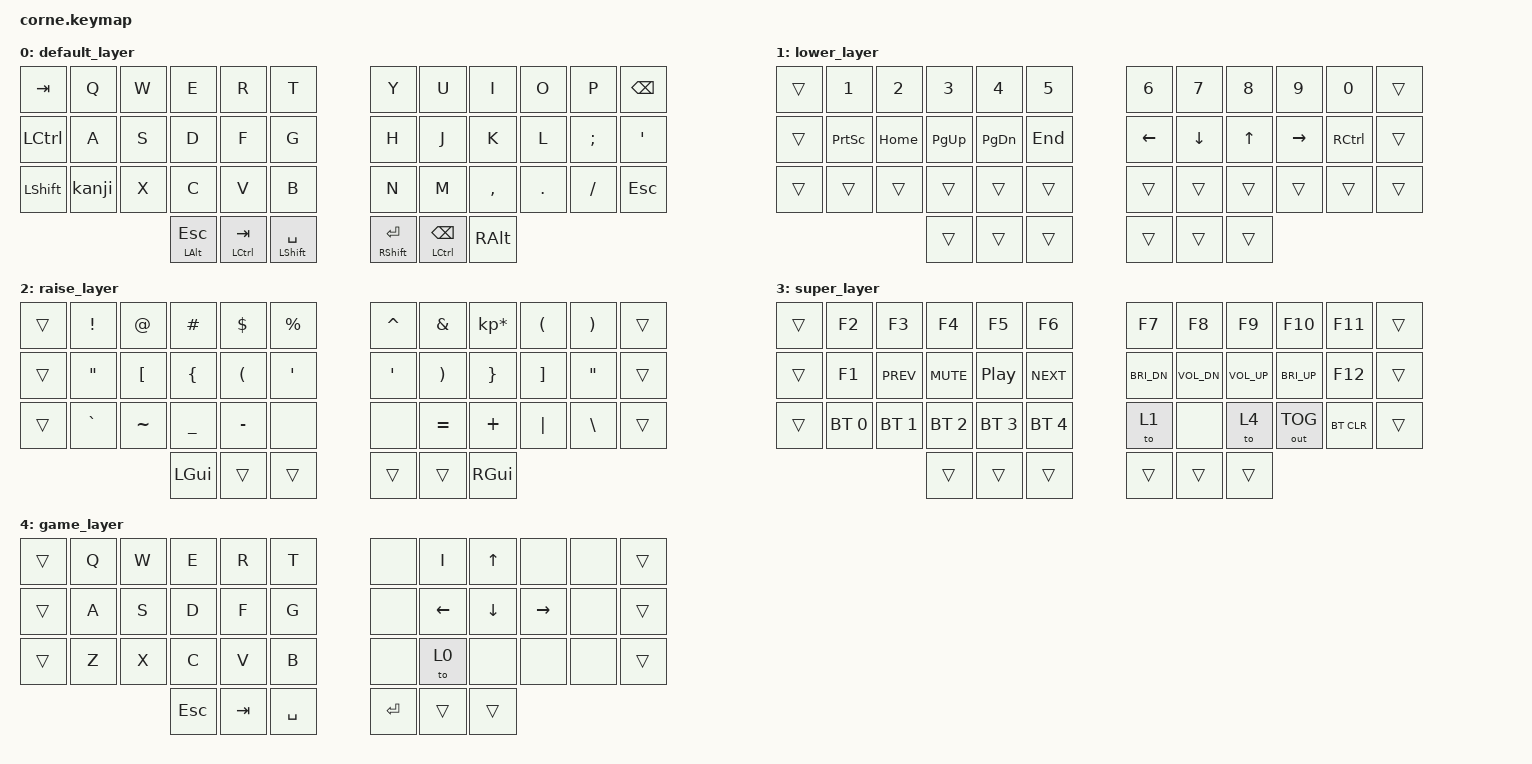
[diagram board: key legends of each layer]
/*
 * Copyright (c) 2020 The ZMK Contributors
 *
 * SPDX-License-Identifier: MIT
 */

#include <behaviors.dtsi>
#include <dt-bindings/zmk/keys.h>
#include <dt-bindings/zmk/bt.h>
#include <dt-bindings/zmk/outputs.h>
#include <dt-bindings/zmk/rgb.h>
#include <dt-bindings/led/led.h>

&mt {
        tapping-term-ms = <200>;
};

/ {
    behaviors {
        hm: homerow_mods {
            compatible = "zmk,behavior-hold-tap";
            #binding-cells = <2>;
            tapping-term-ms = <150>;
            quick-tap-ms = <150>;
            require-prior-idle-ms = <150>;
            flavor = "tap-preferred";
            bindings = <&kp>, <&kp>;
        };
        td_mt: tap_dance_mod_tap {
                compatible = "zmk,behavior-tap-dance";
                #binding-cells = <0>;
                tapping-term-ms = <150>;
                bindings = <&hm LCTRL BSPC>, <&kp BSPC>;
        };
        kanji: kanji_morph {
            compatible = "zmk,behavior-mod-morph";
            #binding-cells = <0>;
            bindings = <&kp Z>, <&kp RALT(GRAVE)>;
            mods = <(MOD_RALT)>;
        };
    };
        combos {
                compatible = "zmk,combos";
                combo_del {
                        timeout-ms = <50>;
                        key-positions = <1 13>;
                        bindings = <&kp LGUI>;
                        layers = <0>;
                };
                combo_gui {
                        timeout-ms = <50>;
                        key-positions = <10 22>;
                        bindings = <&kp DEL>;
                        layers = <0>;
                };
                combo_num {
                        timeout-ms = <150>;
                        key-positions = <38 39>;
                        bindings = <&mo 1>;
                        layers = <0>;
                };
                combo_sym {
                        timeout-ms = <150>;
                        key-positions = <37 40>;
                        bindings = <&mo 2>;
                        layers = <0>;
                };
                combo_fun {
                        timeout-ms = <150>;
                        key-positions = <36 41>;
                        bindings = <&mo 3>;
                        layers = <0>;
                };
        };

        keymap {
                 compatible = "zmk,keymap";

                default_layer {
// -----------------------------------------------------------------------------------------
// |  TAB |  Q  |  W  |  E  |  R  |  T  |   |  Y  |  U   |  I  |  O  |  P  | BKSP |
// | CTRL |  A  |  S  |  D  |  F  |  G  |   |  H  |  J   |  K  |  L  |  ;  |  '   |
// | SHFT |  Z  |  X  |  C  |  V  |  B  |   |  N  |  M   |  ,  |  .  |  /  | ESC  |
//                    | ALT | LWR | SPC |   | ENT | RSE  | ALT |
                        bindings = <
   &kp TAB   &kp Q &kp W &kp E &kp R &kp T                   &kp Y &kp U  &kp I     &kp O   &kp P    &kp BSPC
   &kp LCTRL &kp A &kp S &kp D &kp F &kp G                   &kp H &kp J  &kp K     &kp L   &kp SEMI &kp SQT
   &kp LSHFT &kanji &kp X &kp C &kp V &kp B                   &kp N &kp M  &kp COMMA &kp DOT &kp FSLH &kp ESC
   &hm LALT ESC &hm LCTRL TAB &hm LSHIFT SPACE           &hm RSHIFT RET &hm LCTRL BSPC &kp RALT
                        >;
                };
                lower_layer {
// -----------------------------------------------------------------------------------------
// |  TAB |  1  |  2  |  3  |  4  |  5  |   |  6  |  7  |  8  |  9  |  0  | BKSP |
// | CTRL |PSCRN| HOM | PUP | PUD | END |   | LFT | DWN |  UP | RGT |  `  |      |
// | SHFT |     |     |     |     |     |   |     |     |     |     |     |      |
//                    | GUI |     | SPC |   | ENT |     | GUI |
                        bindings = <
   &trans  &kp N1    &kp N2   &kp N3    &kp N4    &kp N5      &kp N6   &kp N7   &kp N8 &kp N9    &kp N0    &trans
   &trans  &kp PSCRN &kp HOME &kp PG_UP &kp PG_DN &kp END     &kp LEFT &kp DOWN &kp UP &kp RIGHT &kp RCTRL &trans
   &trans  &trans    &trans   &trans    &trans    &trans      &trans   &trans   &trans &trans    &trans   &trans
                              &trans    &trans    &trans      &trans   &trans   &trans
                        >;
                };

                raise_layer {
// -----------------------------------------------------------------------------------------
// |  TAB |  !  |  @  |  #  |  $  |  %  |   |  ^  |  &  |  *  |  (  |  )  | BKSP |
// | CTRL | PRV | MUT | PLY | NXT | VOU |   |  -  |  =  |  [  |  ]  |  \  |  `   |
// | SHFT |     |     |     |     | VOD |   |  _  |  +  |  {  |  }  | "|" |  ~   |
//                    | GUI |     | SPC |   | ENT |     | GUI |
                        bindings = <
   &trans &kp EXCL  &kp AT    &kp HASH  &kp DLLR  &kp PRCNT       &kp CARET &kp AMPS  &kp KP_MULTIPLY &kp LPAR &kp RPAR &trans
   &trans &kp DQT   &kp LBKT  &kp LBRC  &kp LPAR  &kp SQT         &kp SQT   &kp RPAR  &kp RBRC        &kp RBKT &kp DQT  &trans
   &trans &kp GRAVE &kp TILDE &kp UNDER &kp MINUS &none           &none     &kp EQUAL &kp PLUS        &kp PIPE &kp BSLH &trans
                                &kp LGUI &trans   &trans          &trans    &trans    &kp RGUI
                        >;
                };

                super_layer {
// -----------------------------------------------------------------------------------------
// |  F1  |  F2 |  F3 |  F4 |  F5 |  F6 |   |  F7 |  F8 |  F9 | F10 | F11 | F12 |
// |      | BT1 | BT2 | BT3 | BT4 | BT5 |   |     | RON | HUI | SAI | BRI |     |
// |      | USB | BLE |     |     | CLR |   |     | ROF | HUD | SAD | BRD |     |
//                    |     |     |     |   |     |     |    |
                        bindings = <
   &trans   &kp F2       &kp F3       &kp F4       &kp F5       &kp F6              &kp F7       &kp F8       &kp F9       &kp F10      &kp F11    &trans
   &trans   &kp F1       &kp C_PREV   &kp C_MUTE   &kp C_PP     &kp C_NEXT          &kp C_BRI_DN &kp C_VOL_DN &kp C_VOL_UP &kp C_BRI_UP &kp F12    &trans
   &trans   &bt BT_SEL 0 &bt BT_SEL 1 &bt BT_SEL 2 &bt BT_SEL 3 &bt BT_SEL 4        &to 1        &none        &to 4        &out OUT_TOG &bt BT_CLR &trans
                                      &trans       &trans       &trans              &trans       &trans       &trans
                        >;
                };
                game_layer {
// -----------------------------------------------------------------------------------------
// |  F1  |  F2 |  F3 |  F4 |  F5 |  F6 |   |  F7 |  F8 |  F9 | F10 | F11 | F12 |
// |      | BT1 | BT2 | BT3 | BT4 | BT5 |   |     | RON | HUI | SAI | BRI |     |
// |      | USB | BLE |     |     | CLR |   |     | ROF | HUD | SAD | BRD |     |
//                    |     |     |     |   |     |     |    |
                        bindings = <
   &trans &kp Q &kp W &kp E   &kp R   &kp T        &none     &kp I    &kp UP   &none     &none &trans
   &trans &kp A &kp S &kp D   &kp F   &kp G        &none     &kp LEFT &kp DOWN &kp RIGHT &none &trans
   &trans &kp Z &kp X &kp C   &kp V   &kp B        &none     &to 0    &none    &none     &none &trans
                      &kp ESC &kp TAB &kp SPACE    &kp ENTER &trans   &trans
                        >;
                };
        };
};
